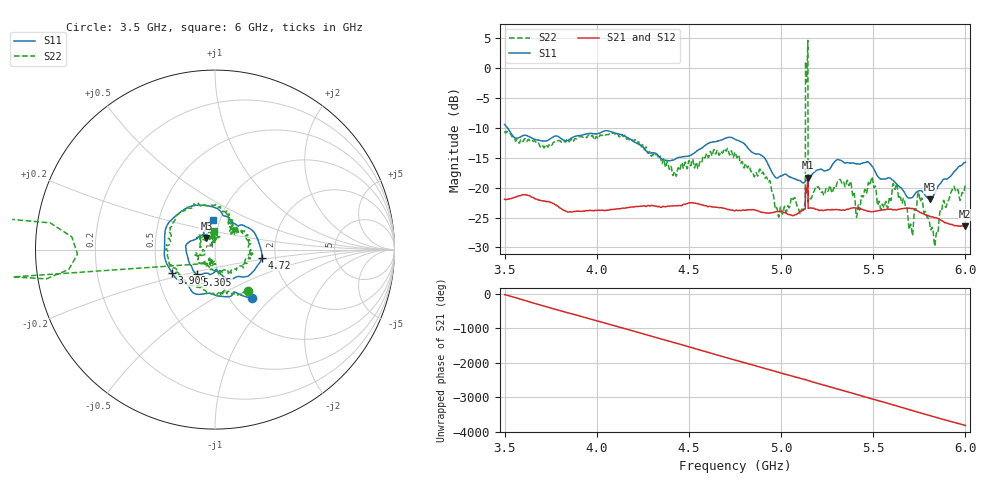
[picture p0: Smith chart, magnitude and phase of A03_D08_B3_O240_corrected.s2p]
! Created with skrf 1.9.0 (http://scikit-rf.org).
# Hz S RI R 50.0
!freq ReS11 ImS11 ReS21 ImS21 ReS12 ImS12 ReS22 ImS22
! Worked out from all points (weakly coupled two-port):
!   1601 points, 3.5 GHz to 6 GHz, reference 50 ohm
!   highest |S21| = -18.32 dB at 5.145 GHz (marker M1); lowest = -26.5 dB at 5.997 GHz (marker M2)
!   lowest |S11| = -22.0 dB at 5.806 GHz (marker M3), VSWR 1.17, Z = 45.1 + j5.83 ohm
!   |S11| at or under -10 dB: 3.515 GHz to end of sweep
!   |S22| runs from -29.8 to 4.6 dB; largest |S21 - S12| = 0.0014
!   S11 on the Smith chart (normalised r, x): 3.5 GHz: 1.26, -0.76; 3.909 GHz: 0.60, -0.17; 4.72 GHz: 1.69, -0.16; 5.305 GHz: 0.79, -0.23; 6 GHz: 0.93, +0.31
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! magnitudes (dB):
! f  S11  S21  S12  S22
! 3.5 GHz  -9.4  -21.9  -21.9  -10.6
! 3.909 GHz  -11.3  -24.0  -23.9  -11.5
! 3.917 GHz  -11.3  -24.0  -24.0  -11.5
! 4.334 GHz  -14.7  -23.2  -23.1  -14.9
! 4.72 GHz  -11.6  -23.7  -23.7  -14.5
! 4.75 GHz  -11.9  -23.9  -23.8  -14.1
! 4.98 GHz  -18.4  -24.0  -24.0  -23.8
! 5.109 GHz  -19.0  -23.9  -23.9  -23.8
! 5.119 GHz  -19.2  -23.8  -23.7  -23.8
! 5.133 GHz  -18.9  -20.0  -20.0  1.1
! 5.145 GHz  -18.7  -18.3  -18.3  4.6
! 5.159 GHz  -18.2  -23.4  -23.4  -21.8
! 5.167 GHz  -17.8  -23.4  -23.4  -21.5
! 5.305 GHz  -15.3  -23.7  -23.7  -19.2
! 5.584 GHz  -18.4  -23.6  -23.6  -22.1
! 5.619 GHz  -19.1  -23.7  -23.7  -20.3
! 5.705 GHz  -21.7  -23.5  -23.5  -26.2
! 5.753 GHz  -20.5  -24.1  -24.1  -22.1
! 5.806 GHz  -22.0  -24.8  -24.8  -26.0
! 5.841 GHz  -20.5  -25.0  -25.0  -28.0
! 5.997 GHz  -15.8  -26.5  -26.4  -19.9
! 6 GHz  -15.7  -26.4  -26.4  -19.5
